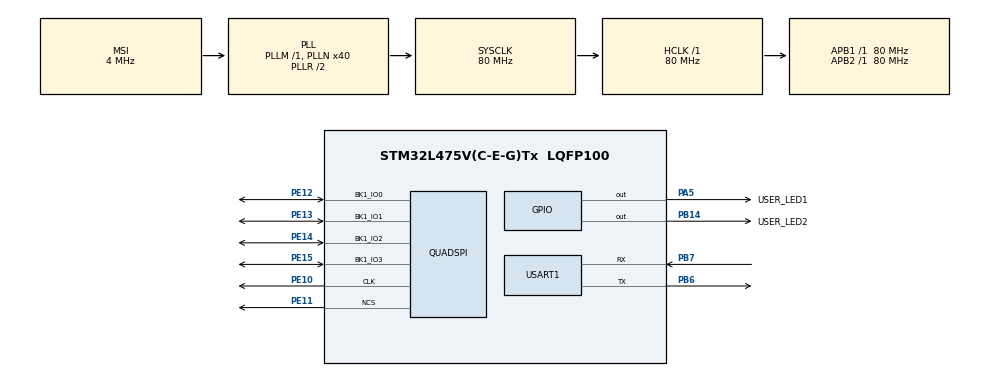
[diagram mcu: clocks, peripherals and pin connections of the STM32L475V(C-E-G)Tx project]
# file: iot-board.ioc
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Mcu.Family=STM32L4
Mcu.Name=STM32L475V(C-E-G)Tx
Mcu.Package=LQFP100
NVIC.PriorityGroup=NVIC_PRIORITYGROUP_4
NVIC.USART1_IRQn=true\:0\:0\:false\:false\:false\:true\:true\:true
PA13\ (JTMS-SWDIO).Mode=Serial_Wire
PA13\ (JTMS-SWDIO).Signal=SYS_JTMS-SWDIO
PA14\ (JTCK-SWCLK).Mode=Serial_Wire
PA14\ (JTCK-SWCLK).Signal=SYS_JTCK-SWCLK
PA5.GPIO_Label=USER_LED1
PA5.Signal=GPIO_Output
PB14.GPIO_Label=USER_LED2
PB14.Signal=GPIO_Output
PB6.Mode=Asynchronous
PB6.Signal=USART1_TX
PB7.Mode=Asynchronous
PB7.Signal=USART1_RX
PC14-OSC32_IN\ (PC14).Mode=LSE-External-Oscillator
PC14-OSC32_IN\ (PC14).Signal=RCC_OSC32_IN
PC15-OSC32_OUT\ (PC15).Mode=LSE-External-Oscillator
PC15-OSC32_OUT\ (PC15).Signal=RCC_OSC32_OUT
PE10.Mode=Single Bank
PE10.Signal=QUADSPI_CLK
PE11.Mode=Single Bank
PE11.Signal=QUADSPI_NCS
PE12.Mode=Single Bank
PE12.Signal=QUADSPI_BK1_IO0
PE13.Mode=Single Bank
PE13.Signal=QUADSPI_BK1_IO1
PE14.Mode=Single Bank
PE14.Signal=QUADSPI_BK1_IO2
PE15.Mode=Single Bank
PE15.Signal=QUADSPI_BK1_IO3
ProjectManager.HeapSize=0x200
ProjectManager.StackSize=0x400
ProjectManager.TargetToolchain=Makefile
QUADSPI.FlashSize-Single\ Bank=22
RCC.AHBFreq_Value=80000000
RCC.APB1Freq_Value=80000000
RCC.APB1TimFreq_Value=80000000
RCC.APB2Freq_Value=80000000
RCC.APB2TimFreq_Value=80000000
RCC.CortexFreq_Value=80000000
RCC.HCLKFreq_Value=80000000
RCC.HSE_VALUE=8000000
RCC.HSI_VALUE=16000000
RCC.MSI_VALUE=4000000
RCC.PLLN=40
RCC.RTCClockSelection=RCC_RTCCLKSOURCE_LSE
RCC.SYSCLKFreq_VALUE=80000000
RCC.SYSCLKSource=RCC_SYSCLKSOURCE_PLLCLK
RCC.VCOOutputFreq_Value=160000000
USART1.VirtualMode-Asynchronous=VM_ASYNC
VP_RTC_VS_RTC_Activate.Mode=RTC_Enabled
board=custom

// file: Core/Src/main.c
/* USER CODE BEGIN Header */
/**
  ******************************************************************************
  * @file           : main.c
  * @brief          : Main program body
  ******************************************************************************
  * @attention
  *
  * Copyright (c) 2023 STMicroelectronics.
  * All rights reserved.
  *
  * This software is licensed under terms that can be found in the LICENSE file
  * in the root directory of this software component.
  * If no LICENSE file comes with this software, it is provided AS-IS.
  *
  ******************************************************************************
  */
/* USER CODE END Header */
#include "main.h"
#include "quadspi.h"
#include "rtc.h"
#include "usart.h"
#include "gpio.h"

/* USER CODE BEGIN Includes */
#include "printf_config.h"
#include "printf_debug.h"
#include "cli.h"
#include "lfs_utils.h"
/* USER CODE END Includes */

/* USER CODE BEGIN PV */
lfs_t lfs;
lfs_file_t file;

uint8_t read_buf[256] = {0x00, };
uint8_t prog_buf[256] = {0x00, };
uint8_t lookahed_buf[256] = {0x00, };

const struct lfs_config cfg = {
    // block device operations
    .read  = fs_flash_read,
    .prog  = fs_flash_prog,
    .erase = fs_flash_erase,
    .sync  = fs_flash_sync,

    // block device configuration
    .read_size = 256,
    .prog_size = 256,
    .block_size = 4096,
    .block_count = 2048,
    .cache_size = 256,
    .lookahead_size = 256,
    .block_cycles = 100,

    .read_buffer = read_buf,
    .prog_buffer = prog_buf,
    .lookahead_buffer = lookahed_buf
};
/* USER CODE END PV */

void SystemClock_Config(void);

int main(void)
{
  /* USER CODE BEGIN 1 */
  p_cli_input cli;
  /* USER CODE END 1 */

  /* MCU Configuration--------------------------------------------------------*/

  /* Reset of all peripherals, Initializes the Flash interface and the Systick. */
  HAL_Init();

  /* Configure the system clock */
  SystemClock_Config();

  /* Initialize all configured peripherals */
  MX_GPIO_Init();
  MX_QUADSPI_Init();
  MX_RTC_Init();
  MX_USART1_UART_Init();
  /* USER CODE BEGIN 2 */
  initialize_uart_printf(&huart1);
  qspi_flash_initialize(&hqspi);
  cli = ring_buf_initialize(&huart1);
  if (!cli) {
    DEBUG_VV("Failed initialize the CLI.\r\n");
  }
  /* USER CODE END 2 */

  /* Infinite loop */
  while (1)
  {

  }
}

void SystemClock_Config(void)
{
  RCC_OscInitTypeDef RCC_OscInitStruct = {0};
  RCC_ClkInitTypeDef RCC_ClkInitStruct = {0};

  /** Configure the main internal regulator output voltage
  */
  if (HAL_PWREx_ControlVoltageScaling(PWR_REGULATOR_VOLTAGE_SCALE1) != HAL_OK)
  {
    Error_Handler();
  }

  /** Configure LSE Drive Capability
  */
  HAL_PWR_EnableBkUpAccess();
  __HAL_RCC_LSEDRIVE_CONFIG(RCC_LSEDRIVE_LOW);

  /** Initializes the RCC Oscillators according to the specified parameters
  * in the RCC_OscInitTypeDef structure.
  */
  RCC_OscInitStruct.OscillatorType = RCC_OSCILLATORTYPE_LSE|RCC_OSCILLATORTYPE_MSI;
  RCC_OscInitStruct.LSEState = RCC_LSE_ON;
  RCC_OscInitStruct.MSIState = RCC_MSI_ON;
  RCC_OscInitStruct.MSICalibrationValue = 0;
  RCC_OscInitStruct.MSIClockRange = RCC_MSIRANGE_6;
  RCC_OscInitStruct.PLL.PLLState = RCC_PLL_ON;
  RCC_OscInitStruct.PLL.PLLSource = RCC_PLLSOURCE_MSI;
  RCC_OscInitStruct.PLL.PLLM = 1;
  RCC_OscInitStruct.PLL.PLLN = 40;
  RCC_OscInitStruct.PLL.PLLP = RCC_PLLP_DIV7;
  RCC_OscInitStruct.PLL.PLLQ = RCC_PLLQ_DIV2;
  RCC_OscInitStruct.PLL.PLLR = RCC_PLLR_DIV2;
  if (HAL_RCC_OscConfig(&RCC_OscInitStruct) != HAL_OK)
  {
    Error_Handler();
  }

  /** Initializes the CPU, AHB and APB buses clocks
  */
  RCC_ClkInitStruct.ClockType = RCC_CLOCKTYPE_HCLK|RCC_CLOCKTYPE_SYSCLK
                              |RCC_CLOCKTYPE_PCLK1|RCC_CLOCKTYPE_PCLK2;
  RCC_ClkInitStruct.SYSCLKSource = RCC_SYSCLKSOURCE_PLLCLK;
  RCC_ClkInitStruct.AHBCLKDivider = RCC_SYSCLK_DIV1;
  RCC_ClkInitStruct.APB1CLKDivider = RCC_HCLK_DIV1;
  RCC_ClkInitStruct.APB2CLKDivider = RCC_HCLK_DIV1;

  if (HAL_RCC_ClockConfig(&RCC_ClkInitStruct, FLASH_LATENCY_4) != HAL_OK)
  {
    Error_Handler();
  }

  /** Enable MSI Auto calibration
  */
  HAL_RCCEx_EnableMSIPLLMode();
}

void Error_Handler(void)
{
  __disable_irq();
  while (1)
  {
  }
}
